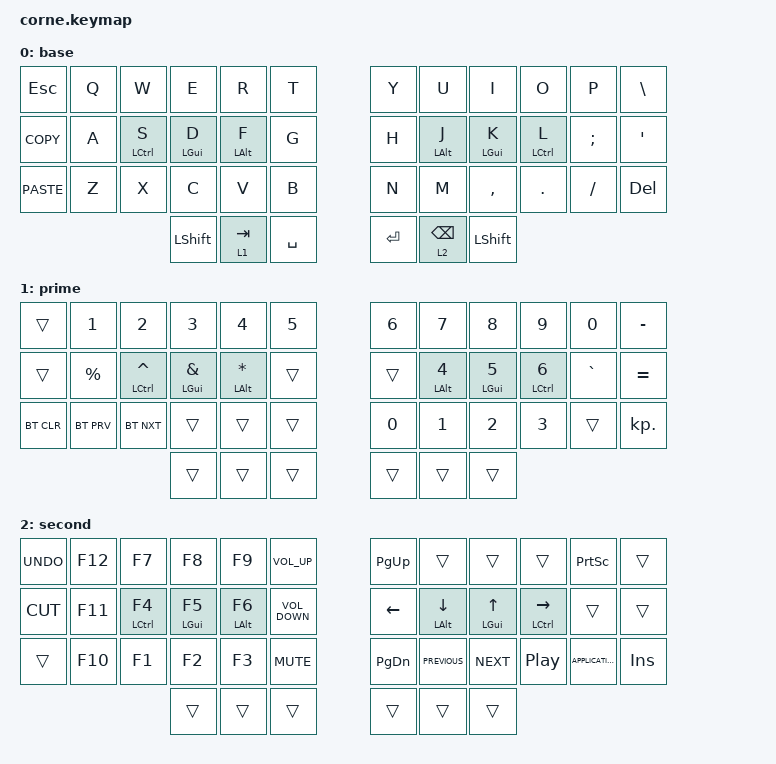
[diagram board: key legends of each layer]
#include <behaviors.dtsi>
#include <dt-bindings/zmk/bt.h>
#include <dt-bindings/zmk/keys.h>

/ {
    combos {
        compatible = "zmk,combos";

        e_r {
            bindings = <&kp LEFT_PARENTHESIS>;
            key-positions = <4 3>;
        };

        e_t {
            bindings = <&kp EXCL>;
            key-positions = <3 5>;
        };

        d_f {
            bindings = <&kp LEFT_BRACE>;
            key-positions = <15 16>;
        };

        d_g {
            bindings = <&kp POUND>;
            key-positions = <15 17>;
        };

        c_v {
            bindings = <&kp LEFT_BRACKET>;
            key-positions = <27 28>;
        };

        c_b {
            bindings = <&kp HOME>;
            key-positions = <27 29>;
        };

        y_i {
            bindings = <&kp AT>;
            key-positions = <6 8>;
        };

        u_i {
            bindings = <&kp RIGHT_PARENTHESIS>;
            key-positions = <7 8>;
        };

        h_k {
            bindings = <&kp DOLLAR>;
            key-positions = <18 20>;
        };

        j_k {
            bindings = <&kp RIGHT_BRACE>;
            key-positions = <19 20>;
        };

        n_com {
            bindings = <&kp END>;
            key-positions = <30 32>;
        };

        m_com {
            bindings = <&kp RIGHT_BRACKET>;
            key-positions = <31 32>;
        };
    };

    keymap {
        compatible = "zmk,keymap";

        base {
            // -----------------------------------------------------------------------------------------
            // |  ESC |  Q  |  W  |  E  |  R  |  T  |   |  Y  |  U   |  I  |  O  |  P  | PIPE |
            // | COPY |  A  |  S  |  D  |  F  |  G  |   |  H  |  J   |  K  |  L  |  ;  |  '   |
            // | PSTE |  Z  |  X  |  C  |  V  |  B  |   |  N  |  M   |  ,  |  .  |  /  | DEL  |
            //                    | SHFT| TAB | SPC |   | ENT | BKSP | SHFT|

            bindings = <
&kp ESC      &kp Q  &kp W               &kp E           &kp R           &kp T        &kp Y    &kp U            &kp I           &kp O               &kp P     &kp BSLH
&kp K_COPY   &kp A  &mt LEFT_CONTROL S  &mt LEFT_GUI D  &mt LEFT_ALT F  &kp G        &kp H    &mt LEFT_ALT J   &mt LEFT_GUI K  &mt LEFT_CONTROL L  &kp SEMI  &kp SQT
&kp K_PASTE  &kp Z  &kp X               &kp C           &kp V           &kp B        &kp N    &kp M            &kp COMMA       &kp DOT             &kp FSLH  &kp DEL
                                        &kp LSHFT       &lt 1 TAB       &kp SPACE    &kp RET  &lt 2 BACKSPACE  &kp LSHFT
            >;
        };

        prime {
            // -----------------------------------------------------------------------------------------
            // |      |  1  |  2  |  3  |  4  |  5  |   |  6  |  7  |  8  |  9  |  0  | MINUS|
            // |      |  %  |  ^  |  &  |  *  |     |   |     |  4  |  5  |  6  | GRV | EQUAL|
            // |      |     |     |     |     |     |   |  0  |  1  |  2  |  3  |     |  DOT |
            //                    | SHFT| TAB | SPC |   | ENT | BKSP| SHFT|

            bindings = <
&trans      &kp N1       &kp N2                  &kp N3                  &kp N4                 &kp N5    &kp N6        &kp N7                 &kp N8                 &kp N9                     &kp N0     &kp MINUS
&trans      &kp PERCENT  &mt LEFT_CONTROL CARET  &mt LEFT_GUI AMPERSAND  &mt LEFT_ALT ASTERISK  &trans    &trans        &mt LEFT_ALT NUMBER_4  &mt LEFT_GUI NUMBER_5  &mt LEFT_CONTROL NUMBER_6  &kp GRAVE  &kp EQUAL
&bt BT_CLR  &bt BT_PRV   &bt BT_NXT              &trans                  &trans                 &trans    &kp NUMBER_0  &kp NUMBER_1           &kp NUMBER_2           &kp NUMBER_3               &trans     &kp KP_DOT
                                                 &trans                  &trans                 &trans    &trans        &trans                 &trans
            >;
        };

        second {
            // -----------------------------------------------------------------------------------------
            // | UNDO | F12 |  F7 |  F8 |  F9 | VOL+|   | PGUP|     |     |     | PTSC|      |
            // | COPY | F11 |  F4 |  F5 |  F6 | VOL-|   | LFT |  DN |  UP | RGT |     |      |
            // | PSTE | F10 |  F1 |  F2 |  F3 | MUTE|   | PGDN| PRV | NXT | P/P | MENU| INS  |
            //                    | SHFT| TAB | SPC |   | ENT | BKSP| SHFT|

            bindings = <
&kp K_UNDO  &kp F12  &kp F7               &kp F8           &kp F9           &kp C_VOLUME_UP      &kp PG_UP  &trans             &trans           &trans                  &kp PRINTSCREEN    &trans
&kp K_CUT   &kp F11  &mt LEFT_CONTROL F4  &mt LEFT_GUI F5  &mt LEFT_ALT F6  &kp C_VOLUME_DOWN    &kp LEFT   &mt LEFT_ALT DOWN  &mt LEFT_GUI UP  &mt LEFT_CONTROL RIGHT  &trans             &trans
&trans      &kp F10  &kp F1               &kp F2           &kp F3           &kp C_MUTE           &kp PG_DN  &kp C_PREVIOUS     &kp C_NEXT       &kp C_PLAY_PAUSE        &kp K_APPLICATION  &kp INSERT
                                          &trans           &trans           &trans               &trans     &trans             &trans
            >;
        };
    };
};
